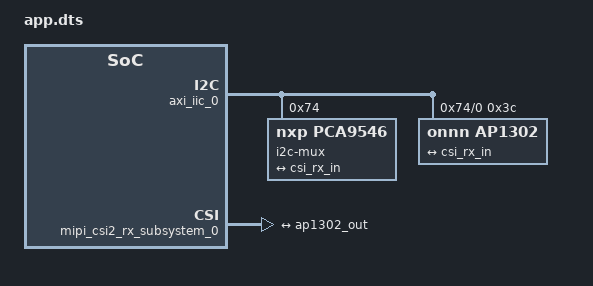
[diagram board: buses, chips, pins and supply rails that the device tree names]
/dts-v1/;
/plugin/;

/ {
    /* 1. 修復 Framebuffer */
    fragment@0 {
        target = <&v_frmbuf_wr_0>;
        __overlay__ {
            resets = <&zynqmp_reset 116>;
            reset-names = "reset";
        };
    };

    /* 2. 掛載 I2C Switch 與 AP1302 ISP */
    fragment@1 {
        target = <&axi_iic_0>;
        __overlay__ {
            status = "okay";
            #address-cells = <1>;
            #size-cells = <0>;

            i2c-mux@74 {
                compatible = "nxp,pca9546";
                #address-cells = <1>;
                #size-cells = <0>;
                reg = <0x74>;

                i2c@0 {
                    #address-cells = <1>;
                    #size-cells = <0>;
                    reg = <0>;

                    ap1302: camera@3c {
                        compatible = "onnn,ap1302";
                        reg = <0x3c>;
                        port {
                            ap1302_out: endpoint {
                                remote-endpoint = <&csi_rx_in>;
                                data-lanes = <1 2 3 4>;
                            };
                        };
                    };
                };
            };
        };
    };

    /* 3. 連結 CSI-2 接收端 */
    fragment@2 {
        target = <&mipi_csi2_rx_subsystem_0>;
        __overlay__ {
            ports {
                #address-cells = <1>;
                #size-cells = <0>;
                port@0 {
                    reg = <0>;
                    csi_rx_in: endpoint {
                        remote-endpoint = <&ap1302_out>;
                        data-lanes = <1 2 3 4>;
                    };
                };
            };
        };
    };
};
